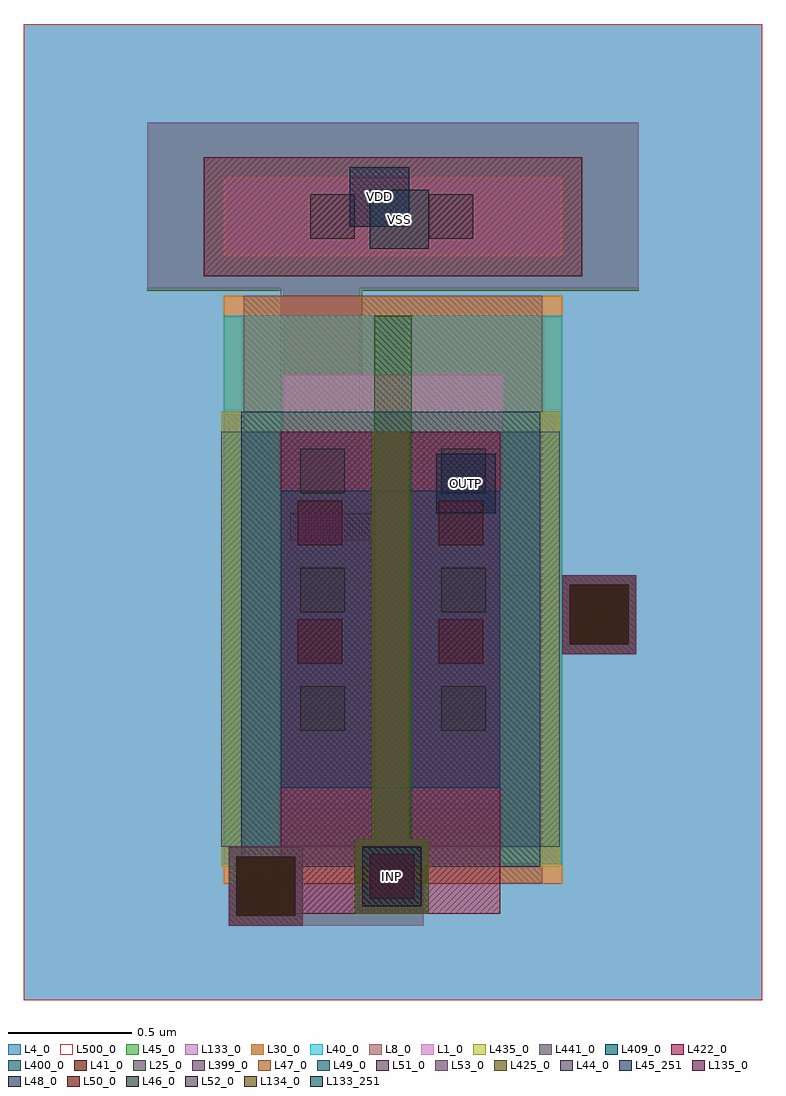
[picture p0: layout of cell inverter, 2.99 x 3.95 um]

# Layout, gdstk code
from math import pi, radians
import gdstk
lib = gdstk.Library(unit=1e-6, precision=1e-09)
def R(c, l, rs):  # rectangles x0, y0, x1, y1
    for r in rs: c.add(gdstk.rectangle(r[:2], r[2:], *l))
def A(c, l, x, y, w, h, nx, ny, dx, dy):  # array of equal rectangles
    R(c, l, [(x+i*dx, y+j*dy, x+i*dx+w, y+j*dy+h) for i in range(nx) for j in range(ny)])
L1_0 = (1, 0)
L4_0 = (4, 0)
L8_0 = (8, 0)
L25_0 = (25, 0)
L30_0 = (30, 0)
L40_0 = (40, 0)
L41_0 = (41, 0)
L44_0 = (44, 0)
L45_0 = (45, 0)
L45_251 = (45, 251)
L46_0 = (46, 0)
L47_0 = (47, 0)
L48_0 = (48, 0)
L49_0 = (49, 0)
L50_0 = (50, 0)
L51_0 = (51, 0)
L52_0 = (52, 0)
L53_0 = (53, 0)
L133_0 = (133, 0)
L133_251 = (133, 251)
L134_0 = (134, 0)
L135_0 = (135, 0)
L399_0 = (399, 0)
L400_0 = (400, 0)
L409_0 = (409, 0)
L422_0 = (422, 0)
L425_0 = (425, 0)
L435_0 = (435, 0)
L441_0 = (441, 0)
L500_0 = (500, 0)

abutcontact__7 = lib.new_cell('AbutContact$$7')
R(abutcontact__7, L1_0, [(-0.05,-0.03,1.32,0.29)])
R(abutcontact__7, L44_0, [(0.3,0.04,0.48,0.22), (0.78,0.04,0.96,0.22)])
R(abutcontact__7, L45_0, [(-0.05,-0.03,1.32,0.29)])

pmos_hs_4__6 = lib.new_cell('pmos_hs_4$$6')
R(pmos_hs_4__6, L1_0, [(-0.37,0,0,1.74), (0,0,0.15,1.74), (0.15,0,0.52,1.74), (-0.37,0.23,-0.05,1.51), (0.2,0.23,0.52,1.51)])
R(pmos_hs_4__6, L4_0, [(-1.02,-1.21,1.17,2.43), (-1.02,-1.21,1.17,2.43), (-0.77,-0.96,0.92,2.06)])
R(pmos_hs_4__6, L8_0, [(-0.53,-0.32,0.68,2.06)])
R(pmos_hs_4__6, L25_0, [(0,-0.24,0.15,0), (0,-0.24,0.15,1.98), (0,1.74,0.15,1.98), (-0.08,1.88,0.22,2.18), (-0.08,1.88,0.22,2.18)])
R(pmos_hs_4__6, L30_0, [(-0.61,-0.32,0.76,2.06)])
R(pmos_hs_4__6, L40_0, [(-0.61,-0.24,0.76,1.98)])
R(pmos_hs_4__6, L41_0, [(-0.69,-0.88,0.84,-0.4)])
A(pmos_hs_4__6, L44_0, -0.3, 0.3, 0.18, 0.18, 1, 3, 0, 0.48)
A(pmos_hs_4__6, L44_0, 0.27, 0.3, 0.18, 0.18, 1, 3, 0, 0.48)
R(pmos_hs_4__6, L44_0, [(-0.02,1.94,0.16,2.12)])
R(pmos_hs_4__6, L45_0, [(-0.61,-0.8,0.76,-0.48), (-0.37,0.23,-0.05,1.51), (0.2,0.23,0.52,1.51), (-0.06,1.91,0.2,2.15)])
pmos_hs_4__6.add(gdstk.Reference(abutcontact__7, (-0.56,-0.77)))

nmos_hs_4_top__8 = lib.new_cell('nmos_hs_4_top$$8')
R(nmos_hs_4_top__8, L133_0, [(-0.37,0,-0.05,1.2), (0.2,0,0.52,1.2), (-0.28,0.06,-0.14,0.2), (0.29,0.06,0.43,0.2), (-0.06,1.44,0.2,1.68), (0,1.49,0.14,1.63)])
R(nmos_hs_4_top__8, L135_0, [(-0.3,0.04,-0.12,0.22), (0.27,0.04,0.45,0.22), (-0.3,0.52,-0.12,0.7), (0.27,0.52,0.45,0.7), (-0.02,1.47,0.16,1.65)])
R(nmos_hs_4_top__8, L399_0, [(0,-0.24,0.15,1.41), (0.04,0.1,0.1,0.18), (-0.08,1.41,0.22,1.71)])
R(nmos_hs_4_top__8, L400_0, [(-0.37,0,-0.05,1.2), (-0.05,0,0,1.2), (0,0,0.15,1.2), (0.15,0,0.2,1.2), (0.2,0,0.52,1.2)])
R(nmos_hs_4_top__8, L409_0, [(-0.53,-0.32,0.68,1.52)])
R(nmos_hs_4_top__8, L422_0, [(-0.37,-0.24,0.52,1.71)])
R(nmos_hs_4_top__8, L425_0, [(0,-0.24,0.15,1.41), (-0.08,1.41,0.22,1.71)])
R(nmos_hs_4_top__8, L435_0, [(-0.61,-0.32,0.76,1.52)])
R(nmos_hs_4_top__8, L441_0, [(-0.61,-0.24,0.76,1.44)])

m2_m3__1 = lib.new_cell('M2_M3$$1')
R(m2_m3__1, L47_0, [(-0.15,-0.16,0.15,0.16)])
R(m2_m3__1, L48_0, [(-0.12,-0.12,0.12,0.12)])
R(m2_m3__1, L49_0, [(-0.15,-0.16,0.15,0.16)])

m3_m4__2 = lib.new_cell('M3_M4$$2')
R(m3_m4__2, L49_0, [(-0.15,-0.16,0.15,0.16)])
R(m3_m4__2, L50_0, [(-0.12,-0.12,0.12,0.12)])
R(m3_m4__2, L51_0, [(-0.15,-0.16,0.15,0.16)])

m1_m2__3 = lib.new_cell('M1_M2$$3')
R(m1_m2__3, L45_0, [(-0.15,-0.16,0.15,0.16)])
R(m1_m2__3, L46_0, [(-0.12,-0.12,0.12,0.12)])
R(m1_m2__3, L47_0, [(-0.15,-0.16,0.15,0.16)])

m4_m5__4 = lib.new_cell('M4_M5$$4')
R(m4_m5__4, L51_0, [(-0.15,-0.16,0.15,0.16)])
R(m4_m5__4, L52_0, [(-0.12,-0.12,0.12,0.12)])
R(m4_m5__4, L53_0, [(-0.15,-0.16,0.15,0.16)])

m5_m1_top__5 = lib.new_cell('M5_M1_top$$5')
R(m5_m1_top__5, L53_0, [(-0.15,-0.16,0.15,0.16)])
R(m5_m1_top__5, L133_0, [(-0.15,-0.16,0.15,0.16)])
R(m5_m1_top__5, L134_0, [(-0.12,-0.12,0.12,0.12)])

inverter = lib.new_cell('inverter')
R(inverter, L4_0, [(1.15,2.42,4.14,6.37)])
R(inverter, L45_0, [(1.98,2.72,2.77,3.04), (2.77,3.44,3.09,4.72), (2.77,3.82,3.63,4.14), (2.2,4.48,2.52,5.4), (1.65,5.29,3.64,5.97)])
R(inverter, L45_251, [(2.52,2.8,2.76,3.04), (2.82,4.39,3.06,4.63), (2.47,5.55,2.71,5.79)])
R(inverter, L133_0, [(2.25,2.72,2.77,3.04), (2.76,3.28,3.08,4.48), (2.76,3.82,3.63,4.14), (2.19,4.26,2.51,5.31), (1.65,5.3,3.64,5.97)])
R(inverter, L133_251, [(2.55,5.46,2.79,5.7)])
R(inverter, L399_0, [(2.23,4.28,2.68,4.39)])
R(inverter, L500_0, [(1.15,2.42,4.14,6.37)])
inverter.add(gdstk.Reference(pmos_hs_4__6, (2.57,4.95), x_reflection=True))
inverter.add(gdstk.Reference(nmos_hs_4_top__8, (2.71,4.48), rotation=pi))
inverter.add(gdstk.Reference(m2_m3__1, (2.13,2.88)))
inverter.add(gdstk.Reference(m2_m3__1, (3.48,3.98)))
inverter.add(gdstk.Reference(m3_m4__2, (2.13,2.88)))
inverter.add(gdstk.Reference(m3_m4__2, (3.48,3.98)))
inverter.add(gdstk.Reference(m1_m2__3, (2.13,2.88)))
inverter.add(gdstk.Reference(m1_m2__3, (3.48,3.98)))
inverter.add(gdstk.Reference(m4_m5__4, (2.13,2.88)))
inverter.add(gdstk.Reference(m4_m5__4, (3.48,3.98)))
inverter.add(gdstk.Reference(m5_m1_top__5, (3.48,3.98)))
inverter.add(gdstk.Reference(m5_m1_top__5, (2.13,2.88)))
inverter.add(gdstk.Label('VDD', (2.59,5.67), layer=45, texttype=251))
inverter.add(gdstk.Label('OUTP', (2.94,4.51), layer=45, texttype=251))
inverter.add(gdstk.Label('INP', (2.64,2.92), layer=45, texttype=251))
inverter.add(gdstk.Label('VSS', (2.67,5.58), layer=133, texttype=251))

lib.write_gds('inverter.gds')
